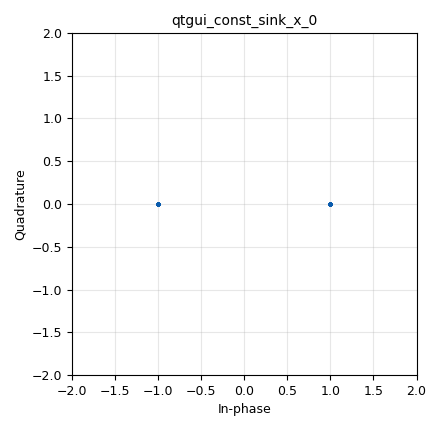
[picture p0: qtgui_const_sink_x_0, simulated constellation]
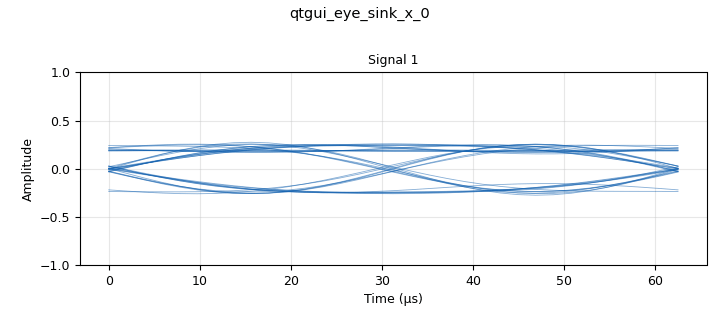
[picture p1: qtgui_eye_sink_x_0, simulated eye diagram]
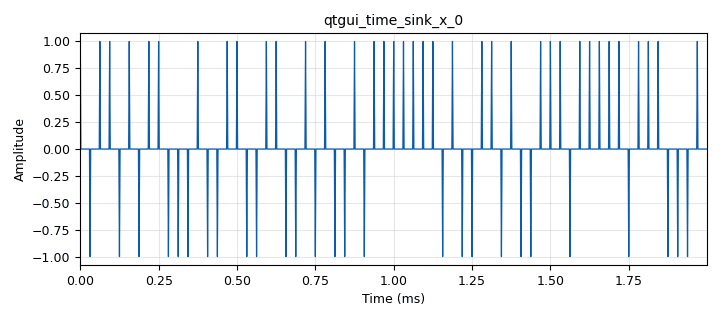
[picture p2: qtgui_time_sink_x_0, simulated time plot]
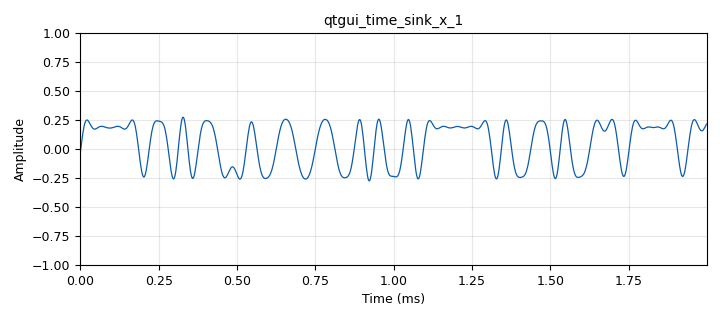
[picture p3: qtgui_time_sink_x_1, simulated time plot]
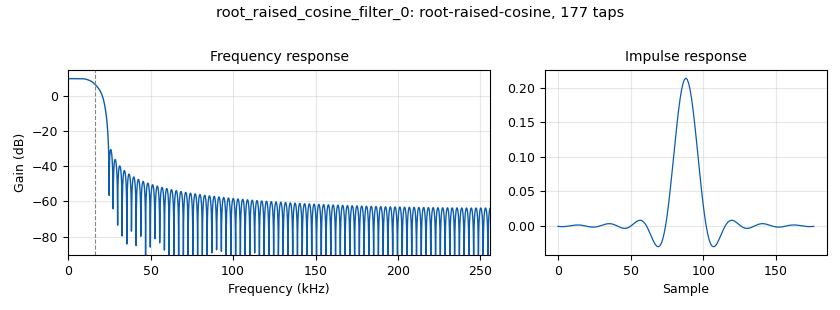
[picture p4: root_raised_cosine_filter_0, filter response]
options:
  parameters:
    generate_options: qt_gui
    id: pulse_shaping
    output_language: python
    title: Not titled yet
  states: {}

blocks:
- name: alpha
  id: variable_qtgui_range
  parameters:
    start: '0'
    step: '0.1'
    stop: '1'
    value: '0.5'
  states: {}
- name: const_points
  id: variable
  parameters:
    value: '2'
  states: {}
- name: sps
  id: variable
  parameters:
    value: '16'
  states: {}
- name: symb_rate
  id: variable
  parameters:
    value: '32000'
  states: {}
- name: analog_random_source_x_0
  id: analog_random_source_x
  parameters:
    max: '2'
    min: '0'
    num_samps: '1000'
    repeat: 'True'
    type: byte
  states: {}
- name: blocks_complex_to_imag_0
  id: blocks_complex_to_imag
  parameters: {}
  states: {}
- name: blocks_complex_to_imag_0_0
  id: blocks_complex_to_imag
  parameters: {}
  states: {}
- name: blocks_complex_to_real_0
  id: blocks_complex_to_real
  parameters: {}
  states: {}
- name: blocks_complex_to_real_0_0
  id: blocks_complex_to_real
  parameters: {}
  states: {}
- name: blocks_throttle_0
  id: blocks_throttle
  parameters:
    samples_per_second: symb_rate*sps
    type: float
  states: {}
- name: blocks_throttle_0_0
  id: blocks_throttle
  parameters:
    samples_per_second: symb_rate*sps
    type: float
  states: {}
- name: digital_chunks_to_symbols_xx_0
  id: digital_chunks_to_symbols_xx
  parameters:
    dimension: '1'
    in_type: byte
    out_type: complex
    symbol_table: (1,-1)
  states: {}
- name: interp_fir_filter_xxx_0
  id: interp_fir_filter_xxx
  parameters:
    interp: sps
    taps: '1'
    type: ccc
  states: {}
- name: qtgui_const_sink_x_0
  id: qtgui_const_sink_x
  parameters:
    gui_hint: tab@0
    size: '1024'
    type: complex
  states: {}
- name: qtgui_eye_sink_x_0
  id: qtgui_eye_sink_x
  parameters:
    gui_hint: tab@3
    samp_per_symbol: sps
    size: '1024'
    srate: symb_rate*sps
    type: float
  states: {}
- name: qtgui_time_sink_x_0
  id: qtgui_time_sink_x
  parameters:
    gui_hint: tab@1
    size: '1024'
    srate: symb_rate*sps
    type: float
  states: {}
- name: qtgui_time_sink_x_0_0
  id: qtgui_time_sink_x
  parameters:
    gui_hint: tab@1
    size: '1024'
    srate: symb_rate*sps
    type: float
  states: {}
- name: qtgui_time_sink_x_1
  id: qtgui_time_sink_x
  parameters:
    gui_hint: tab@2
    size: '1024'
    srate: symb_rate*sps
    type: float
  states: {}
- name: qtgui_time_sink_x_1_0
  id: qtgui_time_sink_x
  parameters:
    gui_hint: tab@2
    size: '1024'
    srate: symb_rate*sps
    type: float
  states: {}
- name: root_raised_cosine_filter_0
  id: root_raised_cosine_filter
  parameters:
    alpha: alpha
    gain: '3'
    interp: '1'
    ntaps: 11*sps
    samp_rate: symb_rate*sps
    sym_rate: symb_rate
    type: interp_fir_filter_ccf
  states: {}
- name: tab
  id: qtgui_tab_widget
  parameters:
    label0: constellation
    label1: before_rrc
    label2: after_rrc
    label3: eye
    num_tabs: '4'
  states: {}

connections:
- [analog_random_source_x_0, '0', digital_chunks_to_symbols_xx_0, '0']
- [blocks_complex_to_imag_0, '0', qtgui_time_sink_x_0_0, '0']
- [blocks_complex_to_imag_0_0, '0', blocks_throttle_0_0, '0']
- [blocks_complex_to_real_0, '0', qtgui_time_sink_x_0, '0']
- [blocks_complex_to_real_0_0, '0', blocks_throttle_0, '0']
- [blocks_throttle_0, '0', qtgui_eye_sink_x_0, '0']
- [blocks_throttle_0, '0', qtgui_time_sink_x_1, '0']
- [blocks_throttle_0_0, '0', qtgui_time_sink_x_1_0, '0']
- [digital_chunks_to_symbols_xx_0, '0', interp_fir_filter_xxx_0, '0']
- [digital_chunks_to_symbols_xx_0, '0', qtgui_const_sink_x_0, '0']
- [interp_fir_filter_xxx_0, '0', blocks_complex_to_imag_0, '0']
- [interp_fir_filter_xxx_0, '0', blocks_complex_to_real_0, '0']
- [interp_fir_filter_xxx_0, '0', root_raised_cosine_filter_0, '0']
- [root_raised_cosine_filter_0, '0', blocks_complex_to_imag_0_0, '0']
- [root_raised_cosine_filter_0, '0', blocks_complex_to_real_0_0, '0']

metadata:
  file_format: 1
  grc_version: 3.9.8.0-rc1
